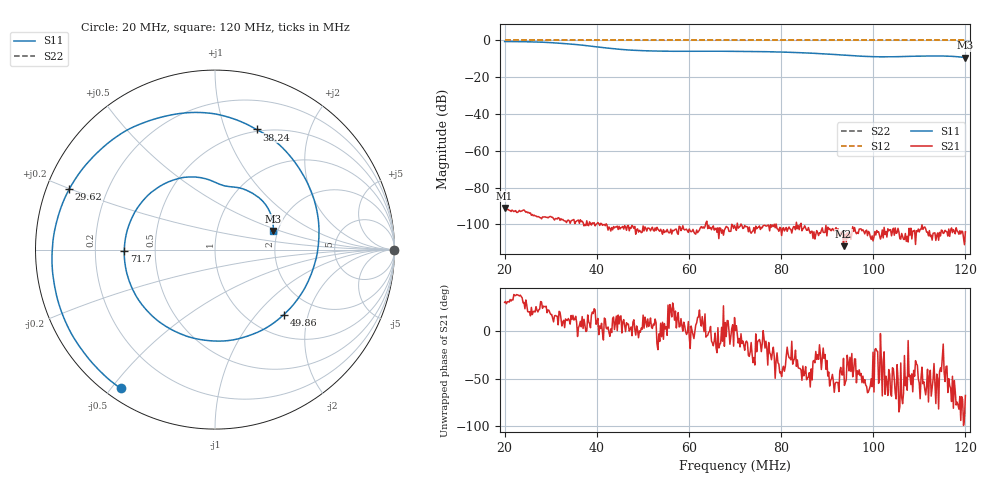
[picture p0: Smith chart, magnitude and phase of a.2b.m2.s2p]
! Anritsu VNA Master:  Model: MS2036C/10/77
! SN:  1601066
! /bd0/18may09/252.ns.m2.s2p
! Existing Calibration Information:
! TYPE:  Current Settings,  Active Cal Settings
! TIME:  05/09/2018 08:53:16 AM,  05/09/2018 08:47:23 AM
! INTERNAL TEMP:  40.0 C,  40.0 C
! # POINTS:  500,  500
! START FREQ:  20.000 MHz,  20.000 MHz
! STOP FREQ:  120.000 MHz,  120.000 MHz
! SOURCE POWER:  High,  High
! IFBW:  50 Hz,  50 Hz
! AVG FACTOR:  1 ,  1
! REF PLANE 1:  0 mm,  0 mm
! REF PLANE 2:  0 mm,  0 mm
! CAL TYPE:  Full S11,  Full S11
! CAL METHOD:  SOLT,  SOLT
! CAL LINE TYPE:  Coax,  Coax
! DUT PORT 1:  K-Conn(F),  K-Conn(F)
! DUT PORT 2:  K-Conn(F),  K-Conn(F)
! CAL STATUS:  OK: Accuracy High,  --
# GHZ S DB R 50.0
! FREQ.GHZ  S11DB  S11A  S21DB  S21A  S12DB  S12A  S22DB  S22A
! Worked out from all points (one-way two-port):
!   500 points, 20 MHz to 120 MHz, reference 50 ohm
!   highest |S21| = -91.03 dB at 20 MHz (marker M1); lowest = -111.8 dB at 93.55 MHz (marker M2)
!   lowest |S11| = -9.3 dB at 120 MHz (marker M3), VSWR 2.03, Z = 94.6 + j22.3 ohm
!   |S11| at or under -10 dB: nowhere
!   |S22| runs from 0.0 to 0.0 dB; largest |S21 - S12| = 1
!   S11 on the Smith chart (normalised r, x): 20 MHz: 0.04, -0.53; 29.62 MHz: 0.07, +0.20; 38.24 MHz: 0.48, +1.29; 49.86 MHz: 1.42, -1.42; 71.7 MHz: 0.33, -0.01; 120 MHz: 1.89, +0.45
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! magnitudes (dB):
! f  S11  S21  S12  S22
! 20 MHz  -0.6  -91.0  0.0  0.0
! 26.21 MHz  -0.8  -95.3  0.0  0.0
! 29.62 MHz  -1.1  -96.0  0.0  0.0
! 32.83 MHz  -1.6  -97.9  0.0  0.0
! 36.83 MHz  -2.5  -98.3  0.0  0.0
! 38.24 MHz  -3.0  -100.7  0.0  0.0
! 44.85 MHz  -4.8  -101.0  0.0  0.0
! 47.05 MHz  -5.2  -103.5  0.0  0.0
! 49.86 MHz  -5.6  -104.2  0.0  0.0
! 53.47 MHz  -5.8  -103.2  0.0  0.0
! 56.87 MHz  -5.9  -103.1  0.0  0.0
! 70.1 MHz  -5.9  -101.8  0.0  0.0
! 71.7 MHz  -5.9  -102.2  0.0  0.0
! 79.72 MHz  -6.3  -101.6  0.0  0.0
! 86.73 MHz  -6.9  -103.7  0.0  0.0
! 93.55 MHz  -7.9  -111.8  0.0  0.0
! 98.96 MHz  -8.7  -103.8  0.0  0.0
! 103.4 MHz  -8.9  -103.5  0.0  0.0
! 109.4 MHz  -8.6  -103.4  0.0  0.0
! 114.6 MHz  -8.4  -106.3  0.0  0.0
! 117.4 MHz  -8.7  -102.8  0.0  0.0
! 120 MHz  -9.3  -104.0  0.0  0.0
